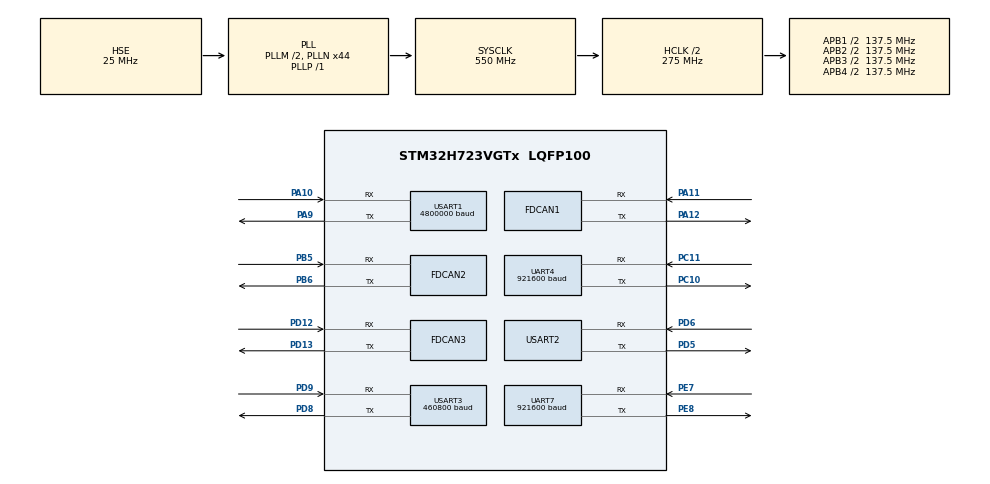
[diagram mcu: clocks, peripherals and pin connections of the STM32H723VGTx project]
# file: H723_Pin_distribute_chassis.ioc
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Dma.Request0=UART4_RX
Dma.Request1=UART4_TX
Dma.Request2=USART1_RX
Dma.Request3=USART1_TX
Dma.Request4=USART3_RX
Dma.Request5=USART3_TX
Dma.Request6=UART7_RX
Dma.Request7=UART7_TX
Dma.Request8=USART2_RX
Dma.Request9=USART2_TX
Dma.UART4_RX.0.Direction=DMA_PERIPH_TO_MEMORY
Dma.UART4_RX.0.EventEnable=DISABLE
Dma.UART4_RX.0.FIFOMode=DMA_FIFOMODE_DISABLE
Dma.UART4_RX.0.Instance=DMA2_Stream0
Dma.UART4_RX.0.MemDataAlignment=DMA_MDATAALIGN_BYTE
Dma.UART4_RX.0.MemInc=DMA_MINC_ENABLE
Dma.UART4_RX.0.Mode=DMA_NORMAL
Dma.UART4_RX.0.PeriphDataAlignment=DMA_PDATAALIGN_BYTE
Dma.UART4_RX.0.PeriphInc=DMA_PINC_DISABLE
Dma.UART4_RX.0.Polarity=HAL_DMAMUX_REQ_GEN_RISING
Dma.UART4_RX.0.Priority=DMA_PRIORITY_VERY_HIGH
Dma.UART4_RX.0.RequestNumber=1
Dma.UART4_RX.0.SignalID=NONE
Dma.UART4_RX.0.SyncEnable=DISABLE
Dma.UART4_RX.0.SyncPolarity=HAL_DMAMUX_SYNC_NO_EVENT
Dma.UART4_RX.0.SyncRequestNumber=1
Dma.UART4_RX.0.SyncSignalID=NONE
Dma.UART4_TX.1.Direction=DMA_MEMORY_TO_PERIPH
Dma.UART4_TX.1.EventEnable=DISABLE
Dma.UART4_TX.1.FIFOMode=DMA_FIFOMODE_DISABLE
Dma.UART4_TX.1.Instance=DMA2_Stream1
Dma.UART4_TX.1.MemDataAlignment=DMA_MDATAALIGN_BYTE
Dma.UART4_TX.1.MemInc=DMA_MINC_ENABLE
Dma.UART4_TX.1.Mode=DMA_NORMAL
Dma.UART4_TX.1.PeriphDataAlignment=DMA_PDATAALIGN_BYTE
Dma.UART4_TX.1.PeriphInc=DMA_PINC_DISABLE
Dma.UART4_TX.1.Polarity=HAL_DMAMUX_REQ_GEN_RISING
Dma.UART4_TX.1.Priority=DMA_PRIORITY_VERY_HIGH
Dma.UART4_TX.1.RequestNumber=1
Dma.UART4_TX.1.SignalID=NONE
Dma.UART4_TX.1.SyncEnable=DISABLE
Dma.UART4_TX.1.SyncPolarity=HAL_DMAMUX_SYNC_NO_EVENT
Dma.UART4_TX.1.SyncRequestNumber=1
Dma.UART4_TX.1.SyncSignalID=NONE
Dma.UART7_RX.6.Direction=DMA_PERIPH_TO_MEMORY
Dma.UART7_RX.6.EventEnable=DISABLE
Dma.UART7_RX.6.FIFOMode=DMA_FIFOMODE_DISABLE
Dma.UART7_RX.6.Instance=DMA1_Stream2
Dma.UART7_RX.6.MemDataAlignment=DMA_MDATAALIGN_BYTE
Dma.UART7_RX.6.MemInc=DMA_MINC_ENABLE
Dma.UART7_RX.6.Mode=DMA_NORMAL
Dma.UART7_RX.6.PeriphDataAlignment=DMA_PDATAALIGN_BYTE
Dma.UART7_RX.6.PeriphInc=DMA_PINC_DISABLE
Dma.UART7_RX.6.Polarity=HAL_DMAMUX_REQ_GEN_RISING
Dma.UART7_RX.6.Priority=DMA_PRIORITY_LOW
Dma.UART7_RX.6.RequestNumber=1
Dma.UART7_RX.6.SignalID=NONE
Dma.UART7_RX.6.SyncEnable=DISABLE
Dma.UART7_RX.6.SyncPolarity=HAL_DMAMUX_SYNC_NO_EVENT
Dma.UART7_RX.6.SyncRequestNumber=1
Dma.UART7_RX.6.SyncSignalID=NONE
Dma.UART7_TX.7.Direction=DMA_MEMORY_TO_PERIPH
Dma.UART7_TX.7.EventEnable=DISABLE
Dma.UART7_TX.7.FIFOMode=DMA_FIFOMODE_DISABLE
Dma.UART7_TX.7.Instance=DMA1_Stream3
Dma.UART7_TX.7.MemDataAlignment=DMA_MDATAALIGN_BYTE
Dma.UART7_TX.7.MemInc=DMA_MINC_ENABLE
Dma.UART7_TX.7.Mode=DMA_NORMAL
Dma.UART7_TX.7.PeriphDataAlignment=DMA_PDATAALIGN_BYTE
Dma.UART7_TX.7.PeriphInc=DMA_PINC_DISABLE
Dma.UART7_TX.7.Polarity=HAL_DMAMUX_REQ_GEN_RISING
Dma.UART7_TX.7.Priority=DMA_PRIORITY_LOW
Dma.UART7_TX.7.RequestNumber=1
Dma.UART7_TX.7.SignalID=NONE
Dma.UART7_TX.7.SyncEnable=DISABLE
Dma.UART7_TX.7.SyncPolarity=HAL_DMAMUX_SYNC_NO_EVENT
Dma.UART7_TX.7.SyncRequestNumber=1
Dma.UART7_TX.7.SyncSignalID=NONE
Dma.USART1_RX.2.Direction=DMA_PERIPH_TO_MEMORY
Dma.USART1_RX.2.EventEnable=DISABLE
Dma.USART1_RX.2.FIFOMode=DMA_FIFOMODE_DISABLE
Dma.USART1_RX.2.Instance=DMA1_Stream4
Dma.USART1_RX.2.MemDataAlignment=DMA_MDATAALIGN_BYTE
Dma.USART1_RX.2.MemInc=DMA_MINC_ENABLE
Dma.USART1_RX.2.Mode=DMA_NORMAL
Dma.USART1_RX.2.PeriphDataAlignment=DMA_PDATAALIGN_BYTE
Dma.USART1_RX.2.PeriphInc=DMA_PINC_DISABLE
Dma.USART1_RX.2.Polarity=HAL_DMAMUX_REQ_GEN_RISING
Dma.USART1_RX.2.Priority=DMA_PRIORITY_VERY_HIGH
Dma.USART1_RX.2.RequestNumber=1
Dma.USART1_RX.2.SignalID=NONE
Dma.USART1_RX.2.SyncEnable=DISABLE
Dma.USART1_RX.2.SyncPolarity=HAL_DMAMUX_SYNC_NO_EVENT
Dma.USART1_RX.2.SyncRequestNumber=1
Dma.USART1_RX.2.SyncSignalID=NONE
Dma.USART1_TX.3.Direction=DMA_MEMORY_TO_PERIPH
Dma.USART1_TX.3.EventEnable=DISABLE
Dma.USART1_TX.3.FIFOMode=DMA_FIFOMODE_DISABLE
Dma.USART1_TX.3.Instance=DMA1_Stream5
Dma.USART1_TX.3.MemDataAlignment=DMA_MDATAALIGN_BYTE
Dma.USART1_TX.3.MemInc=DMA_MINC_ENABLE
Dma.USART1_TX.3.Mode=DMA_NORMAL
Dma.USART1_TX.3.PeriphDataAlignment=DMA_PDATAALIGN_BYTE
Dma.USART1_TX.3.PeriphInc=DMA_PINC_DISABLE
Dma.USART1_TX.3.Polarity=HAL_DMAMUX_REQ_GEN_RISING
Dma.USART1_TX.3.Priority=DMA_PRIORITY_VERY_HIGH
Dma.USART1_TX.3.RequestNumber=1
Dma.USART1_TX.3.SignalID=NONE
Dma.USART1_TX.3.SyncEnable=DISABLE
Dma.USART1_TX.3.SyncPolarity=HAL_DMAMUX_SYNC_NO_EVENT
Dma.USART1_TX.3.SyncRequestNumber=1
Dma.USART1_TX.3.SyncSignalID=NONE
Dma.USART2_RX.8.Direction=DMA_PERIPH_TO_MEMORY
Dma.USART2_RX.8.EventEnable=DISABLE
Dma.USART2_RX.8.FIFOMode=DMA_FIFOMODE_DISABLE
Dma.USART2_RX.8.Instance=DMA1_Stream6
Dma.USART2_RX.8.MemDataAlignment=DMA_MDATAALIGN_BYTE
Dma.USART2_RX.8.MemInc=DMA_MINC_ENABLE
Dma.USART2_RX.8.Mode=DMA_NORMAL
Dma.USART2_RX.8.PeriphDataAlignment=DMA_PDATAALIGN_BYTE
Dma.USART2_RX.8.PeriphInc=DMA_PINC_DISABLE
Dma.USART2_RX.8.Polarity=HAL_DMAMUX_REQ_GEN_RISING
Dma.USART2_RX.8.Priority=DMA_PRIORITY_LOW
Dma.USART2_RX.8.RequestNumber=1
Dma.USART2_RX.8.SignalID=NONE
Dma.USART2_RX.8.SyncEnable=DISABLE
Dma.USART2_RX.8.SyncPolarity=HAL_DMAMUX_SYNC_NO_EVENT
Dma.USART2_RX.8.SyncRequestNumber=1
Dma.USART2_RX.8.SyncSignalID=NONE
Dma.USART2_TX.9.Direction=DMA_MEMORY_TO_PERIPH
Dma.USART2_TX.9.EventEnable=DISABLE
Dma.USART2_TX.9.FIFOMode=DMA_FIFOMODE_DISABLE
Dma.USART2_TX.9.Instance=DMA1_Stream7
Dma.USART2_TX.9.MemDataAlignment=DMA_MDATAALIGN_BYTE
Dma.USART2_TX.9.MemInc=DMA_MINC_ENABLE
Dma.USART2_TX.9.Mode=DMA_NORMAL
Dma.USART2_TX.9.PeriphDataAlignment=DMA_PDATAALIGN_BYTE
Dma.USART2_TX.9.PeriphInc=DMA_PINC_DISABLE
Dma.USART2_TX.9.Polarity=HAL_DMAMUX_REQ_GEN_RISING
Dma.USART2_TX.9.Priority=DMA_PRIORITY_LOW
Dma.USART2_TX.9.RequestNumber=1
Dma.USART2_TX.9.SignalID=NONE
Dma.USART2_TX.9.SyncEnable=DISABLE
Dma.USART2_TX.9.SyncPolarity=HAL_DMAMUX_SYNC_NO_EVENT
Dma.USART2_TX.9.SyncRequestNumber=1
Dma.USART2_TX.9.SyncSignalID=NONE
Dma.USART3_RX.4.Direction=DMA_PERIPH_TO_MEMORY
Dma.USART3_RX.4.EventEnable=DISABLE
Dma.USART3_RX.4.FIFOMode=DMA_FIFOMODE_DISABLE
Dma.USART3_RX.4.Instance=DMA1_Stream0
Dma.USART3_RX.4.MemDataAlignment=DMA_MDATAALIGN_BYTE
Dma.USART3_RX.4.MemInc=DMA_MINC_ENABLE
Dma.USART3_RX.4.Mode=DMA_CIRCULAR
Dma.USART3_RX.4.PeriphDataAlignment=DMA_PDATAALIGN_BYTE
Dma.USART3_RX.4.PeriphInc=DMA_PINC_DISABLE
Dma.USART3_RX.4.Polarity=HAL_DMAMUX_REQ_GEN_RISING
Dma.USART3_RX.4.Priority=DMA_PRIORITY_VERY_HIGH
Dma.USART3_RX.4.RequestNumber=1
Dma.USART3_RX.4.SignalID=NONE
Dma.USART3_RX.4.SyncEnable=DISABLE
Dma.USART3_RX.4.SyncPolarity=HAL_DMAMUX_SYNC_NO_EVENT
Dma.USART3_RX.4.SyncRequestNumber=1
Dma.USART3_RX.4.SyncSignalID=NONE
Dma.USART3_TX.5.Direction=DMA_MEMORY_TO_PERIPH
Dma.USART3_TX.5.EventEnable=DISABLE
Dma.USART3_TX.5.FIFOMode=DMA_FIFOMODE_DISABLE
Dma.USART3_TX.5.Instance=DMA1_Stream1
Dma.USART3_TX.5.MemDataAlignment=DMA_MDATAALIGN_BYTE
Dma.USART3_TX.5.MemInc=DMA_MINC_ENABLE
Dma.USART3_TX.5.Mode=DMA_NORMAL
Dma.USART3_TX.5.PeriphDataAlignment=DMA_PDATAALIGN_BYTE
Dma.USART3_TX.5.PeriphInc=DMA_PINC_DISABLE
Dma.USART3_TX.5.Polarity=HAL_DMAMUX_REQ_GEN_RISING
Dma.USART3_TX.5.Priority=DMA_PRIORITY_VERY_HIGH
Dma.USART3_TX.5.RequestNumber=1
Dma.USART3_TX.5.SignalID=NONE
Dma.USART3_TX.5.SyncEnable=DISABLE
Dma.USART3_TX.5.SyncPolarity=HAL_DMAMUX_SYNC_NO_EVENT
Dma.USART3_TX.5.SyncRequestNumber=1
Dma.USART3_TX.5.SyncSignalID=NONE
FDCAN1.AutoRetransmission=ENABLE
FDCAN1.CalculateBaudRateNominal=1000000
FDCAN1.CalculateTimeBitNominal=1000
FDCAN1.CalculateTimeQuantumNominal=40.0
FDCAN1.DataPrescaler=1
FDCAN1.DataSyncJumpWidth=6
FDCAN1.DataTimeSeg1=18
FDCAN1.DataTimeSeg2=6
FDCAN1.Mode=FDCAN_MODE_NORMAL
FDCAN1.NominalPrescaler=1
FDCAN1.NominalSyncJumpWidth=6
FDCAN1.NominalTimeSeg1=18
FDCAN1.NominalTimeSeg2=6
FDCAN1.RxFifo0ElmtsNbr=4
FDCAN1.StdFiltersNbr=1
FDCAN1.TxBuffersNbr=16
FDCAN1.TxFifoQueueElmtsNbr=16
FDCAN2.AutoRetransmission=ENABLE
FDCAN2.CalculateBaudRateNominal=1000000
FDCAN2.CalculateTimeBitNominal=1000
FDCAN2.CalculateTimeQuantumNominal=40.0
FDCAN2.DataSyncJumpWidth=6
FDCAN2.DataTimeSeg1=18
FDCAN2.DataTimeSeg2=6
FDCAN2.MessageRAMOffset=800
FDCAN2.NominalPrescaler=1
FDCAN2.NominalSyncJumpWidth=6
FDCAN2.NominalTimeSeg1=18
FDCAN2.NominalTimeSeg2=6
FDCAN2.RxFifo0ElmtsNbr=4
FDCAN2.StdFiltersNbr=1
FDCAN2.TxBuffersNbr=16
FDCAN2.TxFifoQueueElmtsNbr=16
FDCAN3.AutoRetransmission=ENABLE
FDCAN3.CalculateBaudRateNominal=1000000
FDCAN3.CalculateTimeBitNominal=1000
FDCAN3.CalculateTimeQuantumNominal=40.0
FDCAN3.DataSyncJumpWidth=6
FDCAN3.DataTimeSeg1=18
FDCAN3.DataTimeSeg2=6
FDCAN3.MessageRAMOffset=1600
FDCAN3.Mode=FDCAN_MODE_NORMAL
FDCAN3.NominalPrescaler=1
FDCAN3.NominalSyncJumpWidth=6
FDCAN3.NominalTimeSeg1=18
FDCAN3.NominalTimeSeg2=6
FDCAN3.RxFifo0ElmtsNbr=4
FDCAN3.StdFiltersNbr=1
FDCAN3.TxBuffersNbr=16
FDCAN3.TxFifoQueueElmtsNbr=16
FREERTOS.Tasks01=Task1,24,1024,State_Machine,Default,NULL,Dynamic,NULL,NULL;Task2,24,1024,Gravity_Feedforward,Default,NULL,Dynamic,NULL,NULL;Task3,24,1024,Motor_Driving,Default,NULL,Dynamic,NULL,NULL;Task4,24,1024,Communication,Default,NULL,Dynamic,NULL,NULL;Task5,24,1024,Others,Default,NULL,Dynamic,NULL,NULL;Task6,24,1024,StartTask06,Default,NULL,Dynamic,NULL,NULL
FREERTOS.configTOTAL_HEAP_SIZE=40960
Mcu.Family=STM32H7
Mcu.Name=STM32H723VGTx
Mcu.Package=LQFP100
NVIC.DMA1_Stream0_IRQn=true\:5\:0\:false\:false\:true\:true\:false\:true\:true
NVIC.DMA1_Stream1_IRQn=true\:5\:0\:false\:false\:true\:true\:false\:true\:true
NVIC.DMA1_Stream2_IRQn=true\:5\:0\:false\:false\:true\:true\:false\:true\:true
NVIC.DMA1_Stream3_IRQn=true\:5\:0\:false\:false\:true\:true\:false\:true\:true
NVIC.DMA1_Stream4_IRQn=true\:5\:0\:false\:false\:true\:true\:false\:true\:true
NVIC.DMA1_Stream5_IRQn=true\:5\:0\:false\:false\:true\:true\:false\:true\:true
NVIC.DMA1_Stream6_IRQn=true\:5\:0\:false\:false\:true\:true\:false\:true\:true
NVIC.DMA1_Stream7_IRQn=true\:5\:0\:false\:false\:true\:true\:false\:true\:true
NVIC.DMA2_Stream0_IRQn=true\:5\:0\:false\:false\:true\:true\:false\:true\:true
NVIC.DMA2_Stream1_IRQn=true\:5\:0\:false\:false\:true\:true\:false\:true\:true
NVIC.FDCAN1_IT0_IRQn=true\:5\:0\:false\:false\:true\:true\:true\:true\:true
NVIC.FDCAN2_IT0_IRQn=true\:5\:0\:false\:false\:true\:true\:true\:true\:true
NVIC.FDCAN3_IT0_IRQn=true\:5\:0\:false\:false\:true\:true\:true\:true\:true
NVIC.PriorityGroup=NVIC_PRIORITYGROUP_4
NVIC.TIM3_IRQn=true\:5\:0\:false\:false\:true\:true\:true\:true\:true
NVIC.TIM6_DAC_IRQn=true\:15\:0\:false\:false\:true\:false\:false\:true\:true
NVIC.TimeBase=TIM6_DAC_IRQn
NVIC.TimeBaseIP=TIM6
NVIC.UART4_IRQn=true\:5\:0\:false\:false\:true\:true\:true\:true\:true
NVIC.UART7_IRQn=true\:5\:0\:false\:false\:true\:true\:true\:true\:true
NVIC.USART1_IRQn=true\:5\:0\:false\:false\:true\:true\:true\:true\:true
NVIC.USART2_IRQn=true\:5\:0\:false\:false\:true\:true\:true\:true\:true
NVIC.USART3_IRQn=true\:5\:0\:false\:false\:true\:true\:true\:true\:true
PA10.GPIO_PuPd=GPIO_PULLUP
PA10.GPIO_Speed=GPIO_SPEED_FREQ_VERY_HIGH
PA10.Mode=Asynchronous
PA10.Signal=USART1_RX
PA11.GPIO_PuPd=GPIO_PULLUP
PA11.GPIO_Speed=GPIO_SPEED_FREQ_VERY_HIGH
PA11.Mode=FDCAN_Activate
PA11.Signal=FDCAN1_RX
PA12.GPIO_PuPd=GPIO_PULLUP
PA12.GPIO_Speed=GPIO_SPEED_FREQ_VERY_HIGH
PA12.Mode=FDCAN_Activate
PA12.Signal=FDCAN1_TX
PA13(JTMS/SWDIO).Mode=Serial_Wire
PA13(JTMS/SWDIO).Signal=DEBUG_JTMS-SWDIO
PA14(JTCK/SWCLK).Mode=Serial_Wire
PA14(JTCK/SWCLK).Signal=DEBUG_JTCK-SWCLK
PA3.Signal=S_TIM2_CH4
PA5.Signal=S_TIM2_CH1_ETR
PA9.GPIO_PuPd=GPIO_PULLUP
PA9.GPIO_Speed=GPIO_SPEED_FREQ_VERY_HIGH
PA9.Mode=Asynchronous
PA9.Signal=USART1_TX
PB5.GPIO_PuPd=GPIO_PULLUP
PB5.GPIO_Speed=GPIO_SPEED_FREQ_VERY_HIGH
PB5.Mode=FDCAN_Activate
PB5.Signal=FDCAN2_RX
PB6.GPIO_PuPd=GPIO_PULLUP
PB6.GPIO_Speed=GPIO_SPEED_FREQ_VERY_HIGH
PB6.Mode=FDCAN_Activate
PB6.Signal=FDCAN2_TX
PC10.GPIO_PuPd=GPIO_PULLUP
PC10.GPIO_Speed=GPIO_SPEED_FREQ_VERY_HIGH
PC10.Mode=Asynchronous
PC10.Signal=UART4_TX
PC11.GPIO_PuPd=GPIO_PULLUP
PC11.GPIO_Speed=GPIO_SPEED_FREQ_VERY_HIGH
PC11.Mode=Asynchronous
PC11.Signal=UART4_RX
PC6.GPIO_PuPd=GPIO_PULLUP
PC6.GPIO_Speed=GPIO_SPEED_FREQ_VERY_HIGH
PC6.Signal=USART6_TX
PC7.GPIO_PuPd=GPIO_PULLUP
PC7.GPIO_Speed=GPIO_SPEED_FREQ_VERY_HIGH
PC7.Signal=USART6_RX
PD12.GPIO_PuPd=GPIO_PULLUP
PD12.GPIO_Speed=GPIO_SPEED_FREQ_VERY_HIGH
PD12.Mode=FDCAN_Activate
PD12.Signal=FDCAN3_RX
PD13.GPIO_PuPd=GPIO_PULLUP
PD13.GPIO_Speed=GPIO_SPEED_FREQ_VERY_HIGH
PD13.Mode=FDCAN_Activate
PD13.Signal=FDCAN3_TX
PD5.GPIO_PuPd=GPIO_PULLUP
PD5.GPIO_Speed=GPIO_SPEED_FREQ_VERY_HIGH
PD5.Mode=Asynchronous
PD5.Signal=USART2_TX
PD6.GPIO_PuPd=GPIO_PULLUP
PD6.GPIO_Speed=GPIO_SPEED_FREQ_VERY_HIGH
PD6.Mode=Asynchronous
PD6.Signal=USART2_RX
PD8.GPIO_PuPd=GPIO_PULLUP
PD8.GPIO_Speed=GPIO_SPEED_FREQ_VERY_HIGH
PD8.Mode=Asynchronous
PD8.Signal=USART3_TX
PD9.GPIO_PuPd=GPIO_PULLUP
PD9.GPIO_Speed=GPIO_SPEED_FREQ_VERY_HIGH
PD9.Mode=Asynchronous
PD9.Signal=USART3_RX
PE11.Signal=S_TIM1_CH2
PE13.Signal=S_TIM1_CH3
PE7.GPIO_PuPd=GPIO_PULLUP
PE7.GPIO_Speed=GPIO_SPEED_FREQ_VERY_HIGH
PE7.Mode=Asynchronous
PE7.Signal=UART7_RX
PE8.GPIO_PuPd=GPIO_PULLUP
PE8.GPIO_Speed=GPIO_SPEED_FREQ_VERY_HIGH
PE8.Mode=Asynchronous
PE8.Signal=UART7_TX
PH0-OSC_IN.Mode=HSE-External-Oscillator
PH0-OSC_IN.Signal=RCC_OSC_IN
PH1-OSC_OUT.Mode=HSE-External-Oscillator
PH1-OSC_OUT.Signal=RCC_OSC_OUT
ProjectManager.HeapSize=0x200
ProjectManager.StackSize=0x400
ProjectManager.TargetToolchain=MDK-ARM V5.32
RCC.ADCFreq_Value=50390625
RCC.APB1Freq_Value=137500000
RCC.APB2Freq_Value=137500000
RCC.APB3Freq_Value=137500000
RCC.APB4Freq_Value=137500000
RCC.CortexFreq_Value=550000000
RCC.D1PPRE=RCC_APB3_DIV2
RCC.D2PPRE1=RCC_APB1_DIV2
RCC.D2PPRE2=RCC_APB2_DIV2
RCC.D3PPRE=RCC_APB4_DIV2
RCC.DIVM1=2
RCC.DIVN1=44
RCC.DIVP1=1
RCC.DIVQ1=4
RCC.FDCANCLockSelection=RCC_FDCANCLKSOURCE_HSE
RCC.HCLKFreq_Value=275000000
RCC.HPRE=RCC_HCLK_DIV2
RCC.PLL2FRACN=0
RCC.PLL3FRACN=0
RCC.PLLFRACN=0
RCC.PLLSourceVirtual=RCC_PLLSOURCE_HSE
RCC.SYSCLKFreq_VALUE=550000000
RCC.SYSCLKSource=RCC_SYSCLKSOURCE_PLLCLK
RCC.USBFreq_Value=137500000
SH.S_TIM1_CH2.0=TIM1_CH2
SH.S_TIM1_CH3.0=TIM1_CH3
SH.S_TIM2_CH1_ETR.0=TIM2_CH1
SH.S_TIM2_CH4.0=TIM2_CH4
TIM3.AutoReloadPreload=TIM_AUTORELOAD_PRELOAD_ENABLE
TIM3.Period=999
TIM3.Prescaler=274
UART4.BaudRate=921600
UART4.OverSampling=UART_OVERSAMPLING_8
UART7.BaudRate=921600
USART1.BaudRate=4800000
USART1.OverSampling=UART_OVERSAMPLING_8
USART1.VirtualMode-Asynchronous=VM_ASYNC
USART2.VirtualMode-Asynchronous=VM_ASYNC
USART3.BaudRate=460800
USART3.VirtualMode-Asynchronous=VM_ASYNC
VP_FREERTOS_VS_CMSIS_V2.Mode=CMSIS_V2
VP_MEMORYMAP_VS_MEMORYMAP.Mode=CurAppReg
VP_SYS_VS_tim6.Mode=TIM6
VP_TIM3_VS_ClockSourceINT.Mode=Internal
board=custom

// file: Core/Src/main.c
/* USER CODE BEGIN Header */
/**
 ******************************************************************************
 * @file           : main.c
 * @brief          : Main program body
 ******************************************************************************
 * @attention
 *
 * Copyright (c) 2026 STMicroelectronics.
 * All rights reserved.
 *
 * This software is licensed under terms that can be found in the LICENSE file
 * in the root directory of this software component.
 * If no LICENSE file comes with this software, it is provided AS-IS.
 *
 ******************************************************************************
 */
/* USER CODE END Header */
#include "main.h"
#include "cmsis_os.h"
#include "dma.h"
#include "fdcan.h"
#include "tim.h"
#include "usart.h"
#include "gpio.h"

/* USER CODE BEGIN Includes */
#include "Init.h"
#include "CAN_Bsp.h"
/* USER CODE END Includes */

void SystemClock_Config(void);
void MX_FREERTOS_Init(void);

int main(void)
{

  /* USER CODE BEGIN 1 */
  // HAL_Delay(100);
  /* USER CODE END 1 */

  /* MCU Configuration--------------------------------------------------------*/

  /* Reset of all peripherals, Initializes the Flash interface and the Systick. */
  HAL_Init();

  /* Configure the system clock */
  SystemClock_Config();

  /* Initialize all configured peripherals */
  MX_GPIO_Init();
  MX_DMA_Init();
  MX_FDCAN1_Init();
  MX_FDCAN3_Init();
  MX_UART4_Init();
  MX_TIM3_Init();
  MX_USART1_UART_Init();
  MX_FDCAN2_Init();
  MX_USART3_UART_Init();
  MX_UART7_Init();
  MX_USART2_UART_Init();
  /* USER CODE BEGIN 2 */
  HAL_Delay(300);
  Init();
  /* USER CODE END 2 */

  /* Init scheduler */
  osKernelInitialize();  /* Call init function for freertos objects (in cmsis_os2.c) */
  MX_FREERTOS_Init();

  /* Start scheduler */
  osKernelStart();

  /* We should never get here as control is now taken by the scheduler */

  /* Infinite loop */
  while (1)
  {

  }
}

void SystemClock_Config(void)
{
  RCC_OscInitTypeDef RCC_OscInitStruct = {0};
  RCC_ClkInitTypeDef RCC_ClkInitStruct = {0};

  /** Supply configuration update enable
  */
  HAL_PWREx_ConfigSupply(PWR_LDO_SUPPLY);

  /** Configure the main internal regulator output voltage
  */
  __HAL_PWR_VOLTAGESCALING_CONFIG(PWR_REGULATOR_VOLTAGE_SCALE0);

  while(!__HAL_PWR_GET_FLAG(PWR_FLAG_VOSRDY)) {}

  /** Initializes the RCC Oscillators according to the specified parameters
  * in the RCC_OscInitTypeDef structure.
  */
  RCC_OscInitStruct.OscillatorType = RCC_OSCILLATORTYPE_HSE;
  RCC_OscInitStruct.HSEState = RCC_HSE_ON;
  RCC_OscInitStruct.PLL.PLLState = RCC_PLL_ON;
  RCC_OscInitStruct.PLL.PLLSource = RCC_PLLSOURCE_HSE;
  RCC_OscInitStruct.PLL.PLLM = 2;
  RCC_OscInitStruct.PLL.PLLN = 44;
  RCC_OscInitStruct.PLL.PLLP = 1;
  RCC_OscInitStruct.PLL.PLLQ = 4;
  RCC_OscInitStruct.PLL.PLLR = 2;
  RCC_OscInitStruct.PLL.PLLRGE = RCC_PLL1VCIRANGE_3;
  RCC_OscInitStruct.PLL.PLLVCOSEL = RCC_PLL1VCOWIDE;
  RCC_OscInitStruct.PLL.PLLFRACN = 0;
  if (HAL_RCC_OscConfig(&RCC_OscInitStruct) != HAL_OK)
  {
    Error_Handler();
  }

  /** Initializes the CPU, AHB and APB buses clocks
  */
  RCC_ClkInitStruct.ClockType = RCC_CLOCKTYPE_HCLK|RCC_CLOCKTYPE_SYSCLK
                              |RCC_CLOCKTYPE_PCLK1|RCC_CLOCKTYPE_PCLK2
                              |RCC_CLOCKTYPE_D3PCLK1|RCC_CLOCKTYPE_D1PCLK1;
  RCC_ClkInitStruct.SYSCLKSource = RCC_SYSCLKSOURCE_PLLCLK;
  RCC_ClkInitStruct.SYSCLKDivider = RCC_SYSCLK_DIV1;
  RCC_ClkInitStruct.AHBCLKDivider = RCC_HCLK_DIV2;
  RCC_ClkInitStruct.APB3CLKDivider = RCC_APB3_DIV2;
  RCC_ClkInitStruct.APB1CLKDivider = RCC_APB1_DIV2;
  RCC_ClkInitStruct.APB2CLKDivider = RCC_APB2_DIV2;
  RCC_ClkInitStruct.APB4CLKDivider = RCC_APB4_DIV2;

  if (HAL_RCC_ClockConfig(&RCC_ClkInitStruct, FLASH_LATENCY_3) != HAL_OK)
  {
    Error_Handler();
  }
}

/* USER CODE BEGIN 4 */
void HAL_FDCAN_ErrorStatusCallback(FDCAN_HandleTypeDef *hfdcan, uint32_t ErrorStatusITs)
{
  if (hfdcan == &hfdcan1 || hfdcan == &hfdcan2 || hfdcan == &hfdcan3)
  { // 确认是哪个 CAN 通道触发的
    // 判断中断触发类型是不是 Bus-Off
    if ((ErrorStatusITs & FDCAN_IT_BUS_OFF) != RESET)
    {
      // 如果是，立即调用刚才写好的复位函数
      CAN_bus_off_check_reset(hfdcan);
    }
  }
}
/* USER CODE END 4 */

void HAL_TIM_PeriodElapsedCallback(TIM_HandleTypeDef *htim)
{
  if (htim->Instance == TIM6)
  {
    HAL_IncTick();
  }
}

void Error_Handler(void)
{
  __disable_irq();
  while (1)
  {
  }
}

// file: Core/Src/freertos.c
/* USER CODE BEGIN Header */
/**
 ******************************************************************************
 * File Name          : freertos.c
 * Description        : Code for freertos applications
 ******************************************************************************
 * @attention
 *
 * Copyright (c) 2026 STMicroelectronics.
 * All rights reserved.
 *
 * This software is licensed under terms that can be found in the LICENSE file
 * in the root directory of this software component.
 * If no LICENSE file comes with this software, it is provided AS-IS.
 *
 ******************************************************************************
 */
/* USER CODE END Header */

#include "FreeRTOS.h"
#include "task.h"
#include "main.h"
#include "cmsis_os.h"

/* USER CODE BEGIN Includes */
#include "Global_Variables.h"
#include "CAN_Bsp.h"
#include "State_Machine.h"
#include "Gravity_Feedforward.h"
#include "Communication.h"
#include "Debug.h"
#include "DJI_Motor.h"
#include "DM_Motor.h"
#include "J60_Motor.h"
#include "Unitree_A1.h"
#include "Gyro.h"
#include "Robstride.h"
/* USER CODE END Includes */

/* USER CODE BEGIN Variables */
uint8_t mode = 0;
/* USER CODE END Variables */
/* Definitions for Task1 */
osThreadId_t Task1Handle;
const osThreadAttr_t Task1_attributes = {
  .name = "Task1",
  .stack_size = 1024 * 4,
  .priority = (osPriority_t) osPriorityNormal,
};
/* Definitions for Task2 */
osThreadId_t Task2Handle;
const osThreadAttr_t Task2_attributes = {
  .name = "Task2",
  .stack_size = 1024 * 4,
  .priority = (osPriority_t) osPriorityNormal,
};
/* Definitions for Task3 */
osThreadId_t Task3Handle;
const osThreadAttr_t Task3_attributes = {
  .name = "Task3",
  .stack_size = 1024 * 4,
  .priority = (osPriority_t) osPriorityNormal,
};
/* Definitions for Task4 */
osThreadId_t Task4Handle;
const osThreadAttr_t Task4_attributes = {
  .name = "Task4",
  .stack_size = 1024 * 4,
  .priority = (osPriority_t) osPriorityNormal,
};
/* Definitions for Task5 */
osThreadId_t Task5Handle;
const osThreadAttr_t Task5_attributes = {
  .name = "Task5",
  .stack_size = 1024 * 4,
  .priority = (osPriority_t) osPriorityNormal,
};
/* Definitions for Task6 */
osThreadId_t Task6Handle;
const osThreadAttr_t Task6_attributes = {
  .name = "Task6",
  .stack_size = 1024 * 4,
  .priority = (osPriority_t) osPriorityNormal,
};

void State_Machine(void *argument);
void Gravity_Feedforward(void *argument);
void Motor_Driving(void *argument);
void Communication(void *argument);
void Others(void *argument);
void StartTask06(void *argument);

void MX_FREERTOS_Init(void); /* (MISRA C 2004 rule 8.1) */

void MX_FREERTOS_Init(void) {

  /* Create the thread(s) */
  /* creation of Task1 */
  Task1Handle = osThreadNew(State_Machine, NULL, &Task1_attributes);

  /* creation of Task2 */
  Task2Handle = osThreadNew(Gravity_Feedforward, NULL, &Task2_attributes);

  /* creation of Task3 */
  Task3Handle = osThreadNew(Motor_Driving, NULL, &Task3_attributes);

  /* creation of Task4 */
  Task4Handle = osThreadNew(Communication, NULL, &Task4_attributes);

  /* creation of Task5 */
  Task5Handle = osThreadNew(Others, NULL, &Task5_attributes);

  /* creation of Task6 */
  Task6Handle = osThreadNew(StartTask06, NULL, &Task6_attributes);

}

void State_Machine(void *argument)
{
  /* USER CODE BEGIN State_Machine */
    /* Infinite loop */
    for (;;)
    {
        StateMachine();

        PackDataToZGT();
        HAL_UART_Transmit_DMA(&huart4, TxBufToZGT, sizeof(TxBufToZGT));

        system_monitor.cntMonitor.Task1++;
        osDelay(1);
    }
  /* USER CODE END State_Machine */
}

void Gravity_Feedforward(void *argument)
{
  /* USER CODE BEGIN Gravity_Feedforward */
    /* Infinite loop */
    for (;;)
    {
        G_Feedforward_Calc();
        system_monitor.cntMonitor.Task2++;
        osDelay(1);
    }
  /* USER CODE END Gravity_Feedforward */
}

void Motor_Driving(void *argument)
{
  /* USER CODE BEGIN Motor_Driving */
    /* Infinite loop */
    for (;;)
    {
        if (ace.act_state == 255)
        {
            mode = 0;
            m3508_ctrl_flag = 0;
        }
        else if (ace.act_state == 20)
        {
            mode = 1;
            m3508_ctrl_flag = 1;
        }

        // DM_param_set(mode);
        // mit_ctrl(&hfdcan1, &stretch_DM, stretch_DM.id, stretch_DM.ctrl.pos_set, stretch_DM.ctrl.vel_set, stretch_DM.ctrl.kp_set, stretch_DM.ctrl.kd_set, stretch_DM.ctrl.tor_set);

        RS_param_set(mode);
        RobStride_Motor_MIT_Control(&RobStride_01, RS_des, 0.0f, RS_kp, RS_kd, RS_tor);

        J60_param_set(mode);
        SetMotionCMD(&Gimbal_J60_CMD, Gimbal_J60.motor_id_, 4, Gimbal_J60_CMD.position_, Gimbal_J60_CMD.velocity_, Gimbal_J60_CMD.torque_, Gimbal_J60_CMD.kp_, Gimbal_J60_CMD.kd_);
        CAN_Send_DeepMsg(&Gimbal_J60_CMD);

        A1_param_set(mode);
        motor_A1_cmd(&Motor_A1);

        if (m3508_ctrl_flag == 0)
        {
          CAN_Sendcurrent(&hfdcan2, 0x200, 0, 0, 0, 0);
        }
        else
        {
            M3508_param_set(m3508_ctrl_flag);
            DJIMotorControl(&DJI_3508);
            CAN_Sendcurrent(&hfdcan2, 0x200, DJI_3508.motor_current + G_ff.M3508, 0, 0, 0);
        }

        M2006_param_set(mode);
        DJIMotorControl(&stretch_2006);
        CAN_Sendcurrent(&hfdcan1, 0x200, 0, stretch_2006.motor_current + G_ff.M2006, 0, 0);

        airOperator.airOperatorTx = bin_array_to_u8(airOperator.airOperatorTxBuf);
        CANx_SendstdData(&hfdcan3, 0x300, &airOperator.airOperatorTx, sizeof(uint8_t));

        system_monitor.cntMonitor.Task3++;
        osDelay(1);
    }
  /* USER CODE END Motor_Driving */
}

void Communication(void *argument)
{
  /* USER CODE BEGIN Communication */
    /* Infinite loop */
    for (;;)
    {
       VOFA_load_data();
       VOFA_transmit_data(vofa, 50);

       system_monitor.cntMonitor.Task4++;
       osDelay(1);
    }
  /* USER CODE END Communication */
}

void Others(void *argument)
{
  /* USER CODE BEGIN Others */
    /* Infinite loop */
    for (;;)
    {
        Observation();

        // 陀螺仪YS320
        if (g_uart_rx_cnt > 0)
        {
            memcpy(g_decode_data + g_decode_data_pos, g_uart_rx_buf, g_uart_rx_cnt);
            g_decode_data_pos += g_uart_rx_cnt;
            g_uart_rx_cnt = 0;
        }
        if (g_decode_data_pos > 0)
        {
            analysis_data(g_decode_data, g_decode_data_pos);
        }

        system_monitor.cntMonitor.Task5++;
        osDelay(1);
    }
  /* USER CODE END Others */
}

void StartTask06(void *argument)
{
  /* USER CODE BEGIN StartTask06 */
  /* Infinite loop */
  for(;;)
  {
    IR_tim++;
    if(IR_tim >= 250)
    {
      HAL_UART_Transmit_DMA(&huart2, Tx_IR, sizeof(Tx_IR));
      IR_tim = 0;
    }

    system_monitor.cntMonitor.Task6++;
    osDelay(1);
  }
  /* USER CODE END StartTask06 */
}
